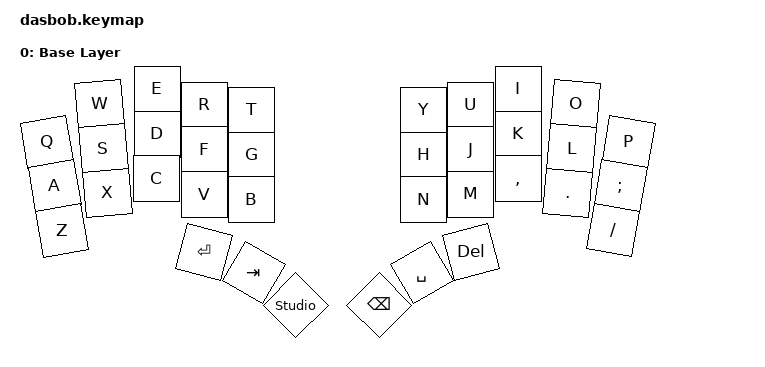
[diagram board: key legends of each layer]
#include <behaviors.dtsi>
#include <dt-bindings/zmk/keys.h>

/ {
    keymap {
        compatible = "zmk,keymap";

        base_layer {
            display-name = "Base Layer";

            /*
            * ┌───┬───┬───┬───┬───┐       ┌───┬───┬───┬───┬───┐
            * │ Q │ W │ E │ R │ T │       │ Y │ U │ I │ O │ P │
            * ├───┼───┼───┼───┼───┤       ├───┼───┼───┼───┼───┤
            * │ A │ S │ D │ F │ G │       │ H │ J │ K │ L │ ; │
            * ├───┼───┼───┼───┼───┤       ├───┼───┼───┼───┼───┤
            * │ Z │ X │ C │ V │ B │       │ N │ M │ , │ . │ / │
            * └───┴───┴───┴───┴───┘       └───┴───┴───┴───┴───┘
            *           ┌───┐                   ┌───┐
            *           │REP├───┐           ┌───┤REP│
            *           └───┤TAB├───┐   ┌───┤BSP├───┘
            *               └───┤ENT│   │SPC├───┘
            *                   └───┘   └───┘
            */
            bindings = <
                &kp Q     &kp W     &kp E     &kp R     &kp T          &kp Y     &kp U     &kp I     &kp O     &kp P
                &kp A     &kp S     &kp D     &kp F     &kp G          &kp H     &kp J     &kp K     &kp L     &kp SEMI
                &kp Z     &kp X     &kp C     &kp V     &kp B          &kp N     &kp M     &kp COMMA &kp DOT   &kp SLASH
                               &studio_unlock &kp TAB   &kp ENTER      &kp SPACE &kp BSPC  &kp DEL
            >;
        };
    };
 };
